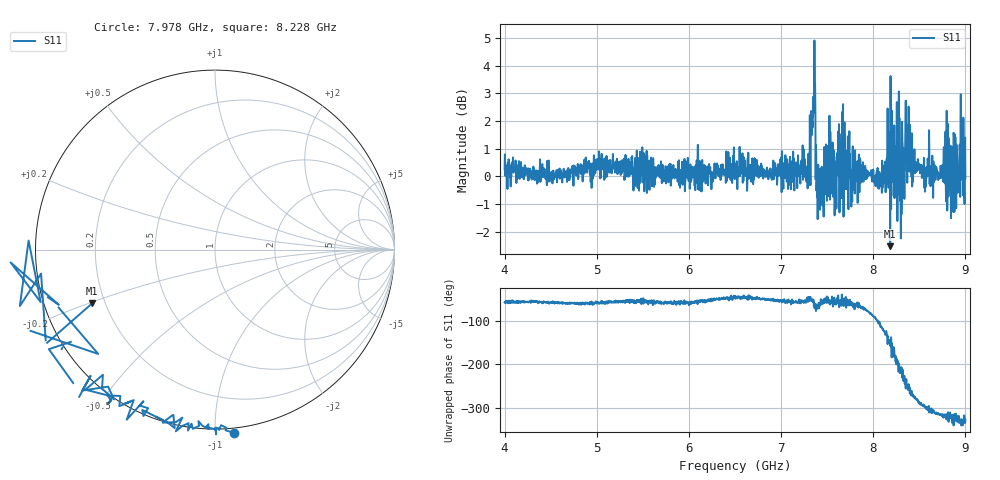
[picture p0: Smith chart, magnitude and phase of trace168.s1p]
! Created with skrf 1.8.0 (http://scikit-rf.org).
# Hz S RI R 50.0
!freq ReS11 ImS11
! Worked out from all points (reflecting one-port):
!   1601 points, 4 GHz to 9 GHz, reference 50 ohm
!   lowest |S11| = -2.5 dB at 8.184 GHz (marker M1), VSWR 6.93, Z = 7.52 - j10.2 ohm
!   phase of S11 starts at -58 deg and turns -268 deg over the sweep
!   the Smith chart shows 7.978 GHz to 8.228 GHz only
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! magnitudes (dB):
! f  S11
! 4 GHz  0.3
! 4.625 GHz  -0.2
! 5.25 GHz  0.2
! 5.875 GHz  0.1
! 6.5 GHz  0.3
! 7.125 GHz  0.2
! 7.284 GHz  0.4
! 7.316 GHz  0.4
! 7.347 GHz  2.1
! 7.409 GHz  -0.6
! 7.538 GHz  0.6
! 7.588 GHz  0.0
! 7.669 GHz  1.5
! 7.75 GHz  0.0
! 8.075 GHz  -0.1
! 8.184 GHz  -2.5
! 8.241 GHz  1.1
! 8.262 GHz  -1.6
! 8.284 GHz  2.1
! 8.294 GHz  0.2
! 8.316 GHz  1.3
! 8.338 GHz  -0.8
! 8.375 GHz  1.3
! 8.447 GHz  1.0
! 8.55 GHz  0.7
! 8.903 GHz  1.1
! 8.956 GHz  0.6
! 9 GHz  -0.1
